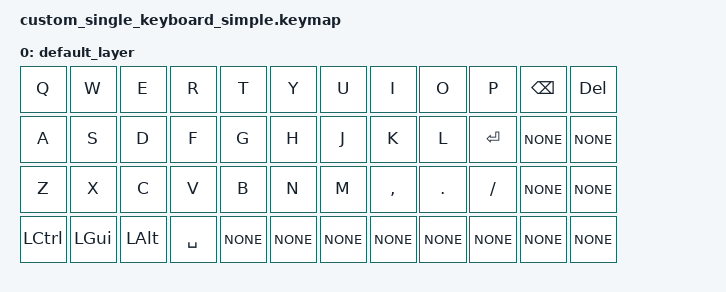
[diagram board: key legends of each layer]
/*
 * Copyright (c) 2020 The ZMK Contributors
 *
 * SPDX-License-Identifier: MIT
 */

#include <behaviors.dtsi>
#include <dt-bindings/zmk/keys.h>

/ {
    keymap {
        compatible = "zmk,keymap";

        default_layer {
            bindings = <
                &kp Q    &kp W    &kp E    &kp R    &kp T    &kp Y    &kp U    &kp I    &kp O    &kp P    &kp BSPC  &kp DEL
                &kp A    &kp S    &kp D    &kp F    &kp G    &kp H    &kp J    &kp K    &kp L    &kp ENTER &kp NONE  &kp NONE
                &kp Z    &kp X    &kp C    &kp V    &kp B    &kp N    &kp M    &kp COMMA &kp DOT   &kp SLASH &kp NONE  &kp NONE
                &kp LCTL &kp LGUI &kp LALT &kp SPACE &kp NONE &kp NONE &kp NONE &kp NONE  &kp NONE  &kp NONE  &kp NONE  &kp NONE
            >;
        };
    };
};
